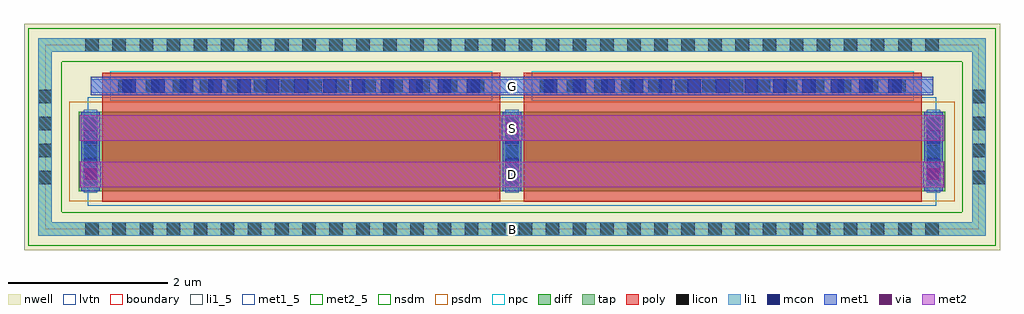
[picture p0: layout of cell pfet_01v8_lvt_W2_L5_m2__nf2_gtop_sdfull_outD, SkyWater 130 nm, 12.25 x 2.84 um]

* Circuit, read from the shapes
.subckt pfet_01v8_lvt_W2_L5_m2__nf2_gtop_sdfull_outD B D G S
XM1 S G D B sky130_fd_pr__pfet_01v8_lvt w=1 l=5 m=2
.ends

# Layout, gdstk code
import gdstk
lib = gdstk.Library(unit=1e-6, precision=1e-09)
def R(c, l, rs):  # rectangles x0, y0, x1, y1
    for r in rs: c.add(gdstk.rectangle(r[:2], r[2:], *l))
def A(c, l, x, y, w, h, nx, ny, dx, dy):  # array of equal rectangles
    R(c, l, [(x+i*dx, y+j*dy, x+i*dx+w, y+j*dy+h) for i in range(nx) for j in range(ny)])
nwell = (64, 20)
diff = (65, 20)
tap = (65, 44)
poly = (66, 20)
licon = (66, 44)
li1_5 = (67, 5)
li1 = (67, 20)
mcon = (67, 44)
met1_5 = (68, 5)
met1 = (68, 20)
via = (68, 44)
met2_5 = (69, 5)
met2 = (69, 20)
nsdm = (93, 44)
psdm = (94, 20)
npc = (95, 20)
lvtn = (125, 44)
boundary = (235, 4)

sky130_fd_pr__pfet_01v8_ = lib.new_cell('sky130_fd_pr__pfet_01v8_lvt_9FYKQ5')
R(sky130_fd_pr__pfet_01v8_, nwell, [(-6.125,-1.42,6.125,1.42)])
R(sky130_fd_pr__pfet_01v8_, diff, [(-5.435,-0.68,5.435,0.32)])
R(sky130_fd_pr__pfet_01v8_, tap, [(-5.945,-1.24,5.945,-1.07), (-5.945,-1.07,-5.775,1.07), (5.775,-1.07,5.945,1.07), (-5.945,1.07,5.945,1.24)])
R(sky130_fd_pr__pfet_01v8_, poly, [(-5.145,-0.81,-0.145,0.805), (0.145,-0.81,5.145,0.805)])
A(sky130_fd_pr__pfet_01v8_, licon, -5.355, -1.24, 0.17, 0.17, 32, 2, 0.34, 2.31)
A(sky130_fd_pr__pfet_01v8_, licon, -5.375, -0.605, 0.17, 0.17, 3, 3, 5.29, 0.34)
A(sky130_fd_pr__pfet_01v8_, licon, -5.945, -0.595, 0.17, 0.17, 1, 4, 0, 0.34)
A(sky130_fd_pr__pfet_01v8_, licon, 5.775, -0.595, 0.17, 0.17, 1, 4, 0, 0.34)
A(sky130_fd_pr__pfet_01v8_, licon, -4.94, 0.555, 0.17, 0.17, 14, 1, 0.34, 0)
A(sky130_fd_pr__pfet_01v8_, licon, 0.35, 0.555, 0.17, 0.17, 14, 1, 0.34, 0)
A(sky130_fd_pr__pfet_01v8_, li1, -5.375, -0.7, 0.17, 1.04, 3, 1, 5.29, 0)
R(sky130_fd_pr__pfet_01v8_, li1, [(-5.945,-1.24,5.945,-1.07), (-5.945,-1.07,-5.775,1.07), (5.775,-1.07,5.945,1.07), (-5.29,0.555,5.29,0.725), (-5.945,1.07,5.945,1.24)])
A(sky130_fd_pr__pfet_01v8_, mcon, -5.375, -0.445, 0.17, 0.17, 3, 2, 5.29, 0.36)
A(sky130_fd_pr__pfet_01v8_, mcon, -4.89, 0.555, 0.17, 0.17, 13, 1, 0.36, 0)
A(sky130_fd_pr__pfet_01v8_, mcon, 0.4, 0.555, 0.17, 0.17, 13, 1, 0.36, 0)
A(sky130_fd_pr__pfet_01v8_, met1, -5.405, -0.68, 0.23, 1, 3, 1, 5.29, 0)
R(sky130_fd_pr__pfet_01v8_, met1, [(-5.125,0.525,-0.165,0.555), (0.165,0.525,5.125,0.555), (-5.29,0.555,5.29,0.725), (-5.125,0.725,-0.165,0.755), (0.165,0.725,5.125,0.755)])
R(sky130_fd_pr__pfet_01v8_, nsdm, [(-6.07,-1.365,6.07,-0.945), (-6.07,-0.945,-5.65,0.945), (5.65,-0.945,6.07,0.945), (-6.07,0.945,6.07,1.365)])
R(sky130_fd_pr__pfet_01v8_, psdm, [(-5.56,-0.805,5.56,0.445)])
R(sky130_fd_pr__pfet_01v8_, npc, [(-5.04,0.455,-0.25,0.825), (0.25,0.455,5.04,0.825)])
R(sky130_fd_pr__pfet_01v8_, lvtn, [(-5.325,-0.86,5.325,0.5)])
R(sky130_fd_pr__pfet_01v8_, boundary, [(-5.86,-1.155,5.86,1.155)])
sky130_fd_pr__pfet_01v8_.add(gdstk.Label('B', (0,-1.155), layer=67, texttype=5))
sky130_fd_pr__pfet_01v8_.add(gdstk.Label('D0', (-5.29,-0.18), layer=67, texttype=5))
sky130_fd_pr__pfet_01v8_.add(gdstk.Label('G', (2.645,0.64), layer=67, texttype=5))
sky130_fd_pr__pfet_01v8_.add(gdstk.Label('G', (-2.645,0.64), layer=67, texttype=5))
sky130_fd_pr__pfet_01v8_.add(gdstk.Label('S1', (0,-0.18), layer=67, texttype=5))

pfet_01v8_lvt_w2_l5_m2__ = lib.new_cell('pfet_01v8_lvt_W2_L5_m2__nf2_gtop_sdfull_outD')
R(pfet_01v8_lvt_w2_l5_m2__, li1_5, [(5.775,-0.085,5.945,0.085)])
R(pfet_01v8_lvt_w2_l5_m2__, li1, [(5.775,-0.085,5.945,0.085)])
R(pfet_01v8_lvt_w2_l5_m2__, met1_5, [(0.57,1.68,11.15,1.91)])
R(pfet_01v8_lvt_w2_l5_m2__, met1, [(0.44,0.525,0.7,0.845), (11.02,0.525,11.28,0.845), (5.73,1.105,5.99,1.425), (0.57,1.68,11.15,1.91)])
R(pfet_01v8_lvt_w2_l5_m2__, via, [(0.495,0.61,0.645,0.76), (11.075,0.61,11.225,0.76), (5.785,1.19,5.935,1.34)])
R(pfet_01v8_lvt_w2_l5_m2__, met2_5, [(0.435,0.525,11.285,0.845), (0.435,1.105,11.285,1.425)])
R(pfet_01v8_lvt_w2_l5_m2__, met2, [(0.435,0.525,11.285,0.845), (0.435,1.105,11.285,1.425)])
pfet_01v8_lvt_w2_l5_m2__.add(gdstk.Reference(sky130_fd_pr__pfet_01v8_, (5.86,1.155)))
pfet_01v8_lvt_w2_l5_m2__.add(gdstk.Label('S', (5.86,1.265), layer=69, texttype=5))
pfet_01v8_lvt_w2_l5_m2__.add(gdstk.Label('D', (5.86,0.685), layer=69, texttype=5))
pfet_01v8_lvt_w2_l5_m2__.add(gdstk.Label('G', (5.86,1.795), layer=68, texttype=5))
pfet_01v8_lvt_w2_l5_m2__.add(gdstk.Label('B', (5.86,0), layer=67, texttype=5))

lib.write_gds('pfet_01v8_lvt_W2_L5_m2__nf2_gtop_sdfull_outD.gds')
